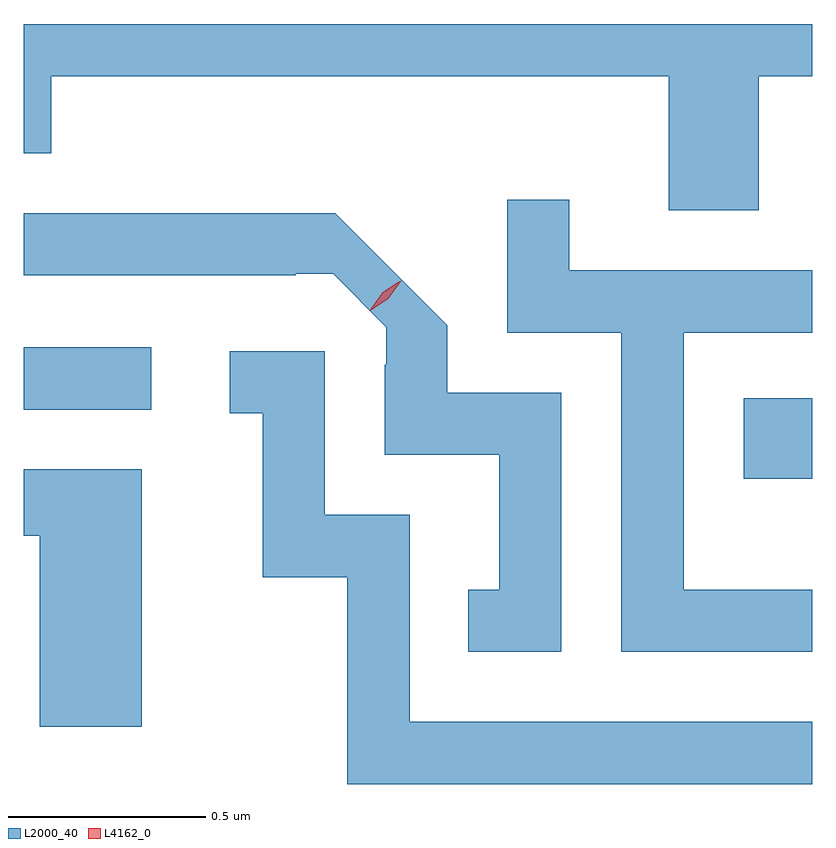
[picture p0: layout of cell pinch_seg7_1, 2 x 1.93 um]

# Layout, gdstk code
import gdstk
lib = gdstk.Library(unit=1e-6, precision=1e-09)
def R(c, l, rs):  # rectangles x0, y0, x1, y1
    for r in rs: c.add(gdstk.rectangle(r[:2], r[2:], *l))
def P(c, l, *ps):  # polygons
    for p in ps: c.add(gdstk.Polygon(p, *l))
L2000_40 = (2000, 40)
L4162_0 = (4162, 0)

pinch_seg7_1 = lib.new_cell('pinch_seg7_1')
R(pinch_seg7_1, L2000_40, [(1102.831,1748.816,1103.005,1749.019), (1101.005,1748.991,1101.328,1749.149)])
P(pinch_seg7_1, L2000_40, [(1102.869,1749.836),(1103.005,1749.836),(1103.005,1749.969),(1101.005,1749.969),(1101.005,1749.641),(1101.074,1749.641),(1101.074,1749.836),(1102.641,1749.836),(1102.641,1749.496),(1102.869,1749.496)],
  [(1103.005,1748.534),(1102.679,1748.534),(1102.679,1749.186),(1103.005,1749.186),(1103.005,1749.344),(1102.389,1749.344),(1102.389,1749.523),(1102.231,1749.523),(1102.231,1749.186),(1102.521,1749.186),(1102.521,1748.376),(1103.005,1748.376)],
  [(1102.369,1749.034),(1102.079,1749.034),(1102.079,1749.205),(1101.795,1749.489),(1101.005,1749.489),(1101.005,1749.331),(1101.695,1749.331),(1101.695,1749.335),(1101.79,1749.335),(1101.925,1749.2),(1101.925,1749.105),(1101.921,1749.105),(1101.921,1748.876),(1102.211,1748.876),(1102.211,1748.534),(1102.133,1748.534),(1102.133,1748.376),(1102.369,1748.376)],
  [(1103.005,1748.199),(1101.984,1748.199),(1101.984,1748.724),(1101.769,1748.724),(1101.769,1749.139),(1101.528,1749.139),(1101.528,1748.981),(1101.611,1748.981),(1101.611,1748.566),(1101.826,1748.566),(1101.826,1748.041),(1103.005,1748.041)],
  [(1101.304,1748.839),(1101.005,1748.839),(1101.005,1748.671),(1101.046,1748.671),(1101.046,1748.186),(1101.304,1748.186)])
P(pinch_seg7_1, L4162_0, [(1101.883,1749.241),(1101.883,1749.242),(1101.916,1749.287),(1101.962,1749.318),(1101.962,1749.318),(1101.962,1749.318),(1101.93,1749.272),(1101.884,1749.241)],
  [(1101.885,1749.245),(1101.885,1749.246),(1101.915,1749.288),(1101.957,1749.316),(1101.958,1749.316),(1101.958,1749.316),(1101.928,1749.274),(1101.886,1749.245)])

lib.write_gds('pinch_seg7_1.gds')
